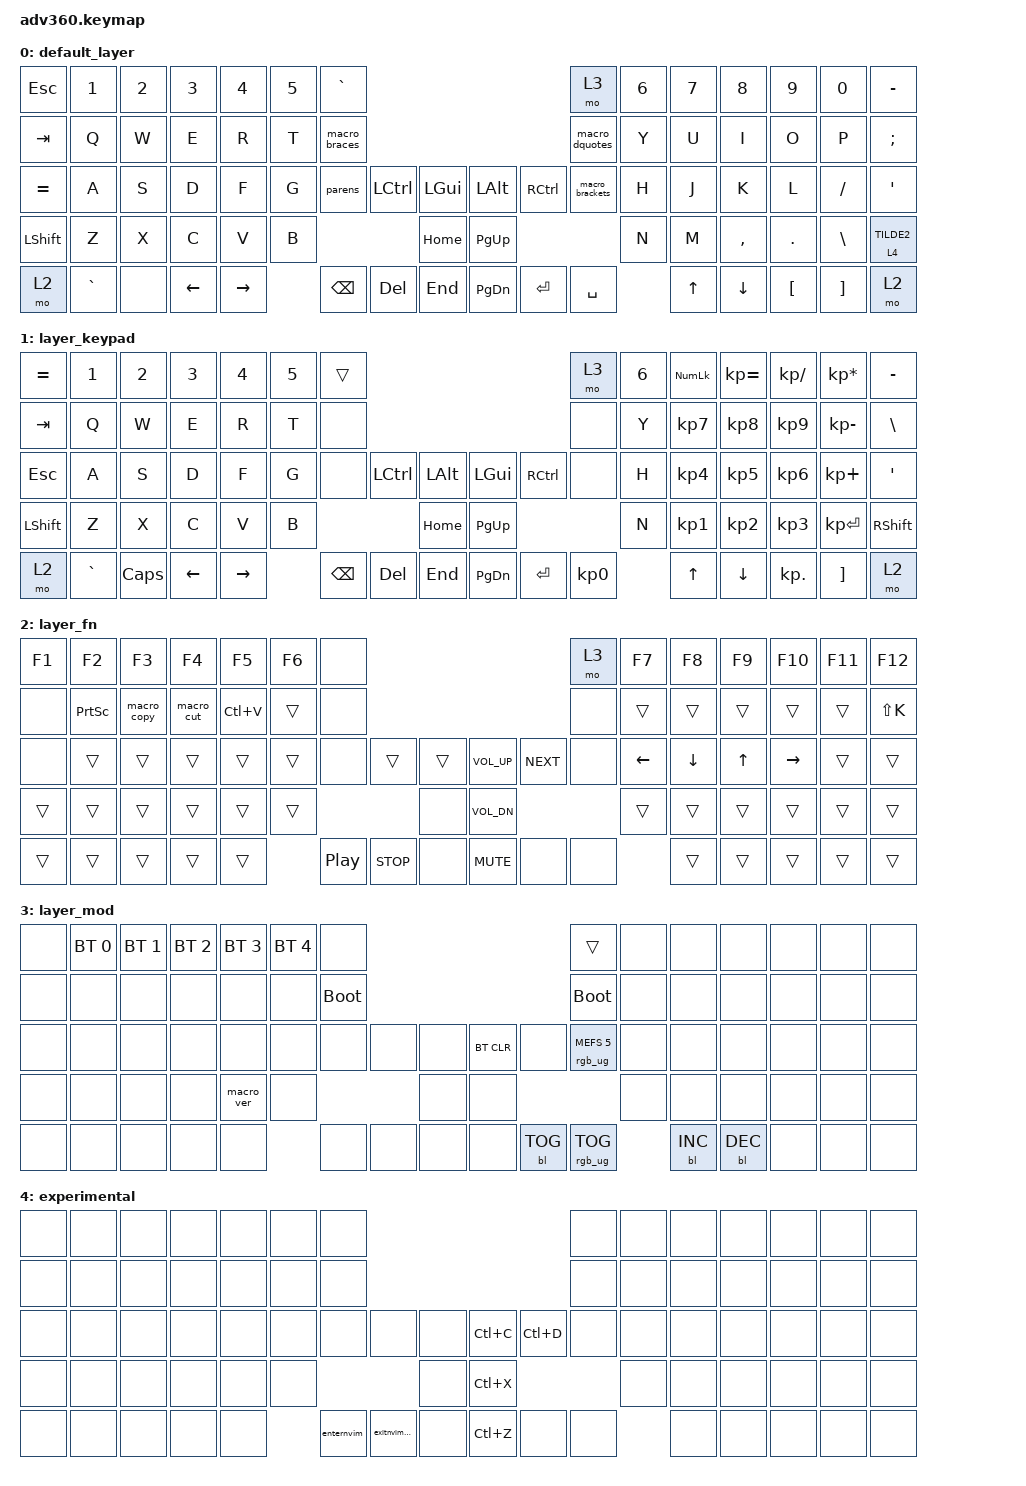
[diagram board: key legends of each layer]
/*
 * Copyright (c) 2020 The ZMK Contributors
 *
 * SPDX-License-Identifier: MIT
 */
/* THIS FILE WAS GENERATED!
 *
 * This file was generated automatically. You may or may not want to
 * edit it directly.
 */

#include <behaviors.dtsi>
#include <dt-bindings/zmk/backlight.h>
#include <dt-bindings/zmk/bt.h>
#include <dt-bindings/zmk/keys.h>
#include <dt-bindings/zmk/rgb.h>

/ {
    behaviors {
        #include "macros.dtsi"
    #include "version.dtsi"

        hm: homerow_mods {
            compatible = "zmk,behavior-hold-tap";
            label = "HOMEROW_MODS";
            #binding-cells = <2>;
            tapping-term-ms = <200>;
            quick_tap_ms = <175>;
            flavor = "tap-preferred";
            bindings = <&kp>, <&kp>;
        };
    };

    macros {
        gotodef: gotodef {
            compatible = "zmk,behavior-macro";
            #binding-cells = <0>;
            bindings = <&kp G &kp D>;
            label = "GOTODEF";
        };

        parens: parens {
            compatible = "zmk,behavior-macro";
            #binding-cells = <0>;
            bindings = <&kp LEFT_PARENTHESIS &kp RIGHT_PARENTHESIS &kp LEFT_ARROW>;
            label = "PARENS";
        };

        char: char {
            compatible = "zmk,behavior-macro";
            #binding-cells = <0>;
            bindings = <&kp C &kp H &kp A &kp R &kp SPACE>;
            label = "CHAR";
        };

        short: short {
            compatible = "zmk,behavior-macro";
            #binding-cells = <0>;
            bindings = <&kp S &kp H &kp O &kp R &kp T &kp SPACE>;
            label = "SHORT";
        };

        int: int {
            compatible = "zmk,behavior-macro";
            #binding-cells = <0>;
            bindings = <&kp I &kp N &kp T &kp SPACE>;
            label = "INT";
        };

        float: float {
            compatible = "zmk,behavior-macro";
            #binding-cells = <0>;
            bindings = <&kp F &kp L &kp O &kp A &kp T &kp SPACE>;
            label = "FLOAT";
        };

        double: double {
            compatible = "zmk,behavior-macro";
            #binding-cells = <0>;
            bindings = <&kp D &kp O &kp U &kp B &kp L &kp E &kp SPACE>;
            label = "DOUBLE";
        };

        long: long {
            compatible = "zmk,behavior-macro";
            #binding-cells = <0>;
            bindings = <&kp L &kp O &kp N &kp G &kp SPACE>;
            label = "LONG";
        };

        sizet: sizet {
            compatible = "zmk,behavior-macro";
            #binding-cells = <0>;
            bindings = <&kp S &kp I &kp Z &kp E &kp UNDER &kp T &kp SPACE>;
            label = "SIZET";
        };

        pointertochar: charasterisk {
            compatible = "zmk,behavior-macro";
            #binding-cells = <0>;
            bindings = <&kp C &kp H &kp A &kp R &kp SPACE &kp STAR &kp SPACE>;
            label = "CHARASTERISK";
        };

        pointertovoid: voidasterisk {
            compatible = "zmk,behavior-macro";
            #binding-cells = <0>;
            bindings = <&kp V &kp O &kp I &kp D &kp SPACE &kp STAR &kp SPACE>;
            label = "VOIDASTERISK";
        };

        pointertovoidpointer: pointertovoidpointer {
            compatible = "zmk,behavior-macro";
            #binding-cells = <0>;
            bindings = <&kp V &kp O &kp I &kp D &kp SPACE &kp STAR &kp STAR &kp SPACE>;
            label = "POINTERTOVOIDPOINTER";
        };

        enternvim: enternvim {
            compatible = "zmk,behavior-macro";
            #binding-cells = <0>;
            bindings = <&kp N &kp V &kp I &kp M &kp RET>;
            label = "ENTERNVIM";
        };

        exitnvimwithsave: exitnvimwithsave {
            compatible = "zmk,behavior-macro";
            #binding-cells = <0>;
            bindings = <&kp ESC &kp COLON &kp W &kp Q &kp RET>;
            label = "EXITNVIMWITHSAVE";
        };

        makeremake: makeremake {
            compatible = "zmk,behavior-macro";
            #binding-cells = <0>;
            bindings = <&kp M &kp A &kp K &kp E &kp SPACE &kp R &kp E &kp M &kp A &kp K &kp E &kp RET>;
            label = "MAKEREMAKE";
        };

        makedebug: makedebug {
            compatible = "zmk,behavior-macro";
            #binding-cells = <0>;
            bindings = <&kp M &kp A &kp K &kp E &kp SPACE &kp D &kp E &kp B &kp U &kp G &kp RET>;
            label = "MAKEDEBUG";
        };

        sudomakeinstall: sudomakeinstall {
            compatible = "zmk,behavior-macro";
            #binding-cells = <0>;
            bindings = <&kp S &kp U &kp D &kp O &kp SPACE &kp M &kp A &kp K &kp E &kp SPACE &kp I &kp N &kp S &kp T &kp A &kp L &kp L &kp RET>;
            label = "SUDOMAKEINSTALL";
        };

        makeclean: makeclean {
            compatible = "zmk,behavior-macro";
            #binding-cells = <0>;
            bindings = <&kp M &kp A &kp K &kp E &kp SPACE &kp C &kp L &kp E &kp A &kp N &kp RET>;
            label = "MAKECLEAN";
        };

        reisub: reisub {
            compatible = "zmk,behavior-macro";
            #binding-cells = <0>;
            bindings =
                <&macro_press>,
                <&kp PRINTSCREEN &kp LEFT_ALT &kp R &kp E &kp I &kp S &kp U &kp B>,
                <&macro_release>;

            label = "REISUB";
        };
    };

    keymap {
        compatible = "zmk,keymap";

        default_layer {
            bindings = <
&kp ESC    &kp N1     &kp N2  &kp N3    &kp N4     &kp N5  &kp GRAVE                                                     &mo 3            &kp N6  &kp N7  &kp N8     &kp N9    &kp N0    &kp MINUS
&kp TAB    &kp Q      &kp W   &kp E     &kp R      &kp T   &macro_braces                                                 &macro_dquotes   &kp Y   &kp U   &kp I      &kp O     &kp P     &kp SEMI
&kp EQUAL  &kp A      &kp S   &kp D     &kp F      &kp G   &parens        &kp LCTRL  &kp LGUI      &kp LALT   &kp RCTRL  &macro_brackets  &kp H   &kp J   &kp K      &kp L     &kp FSLH  &kp SQT
&kp LSHFT  &kp Z      &kp X   &kp C     &kp V      &kp B                             &kp HOME      &kp PG_UP                              &kp N   &kp M   &kp COMMA  &kp DOT   &kp BSLH  &lt 4 TILDE2
&mo 2      &kp GRAVE  &none   &kp LEFT  &kp RIGHT          &kp BSPC       &kp DEL    &kp END       &kp PG_DN  &kp ENTER  &kp SPACE                &kp UP  &kp DOWN   &kp LBKT  &kp RBKT  &mo 2
            >;
        };

        layer_keypad {
            bindings = <
&kp EQUAL  &kp N1     &kp N2    &kp N3    &kp N4     &kp N5  &trans                                                   &mo 3      &kp N6  &kp KP_NUM  &kp KP_EQUAL  &kp KP_DIVIDE  &kp KP_MULTIPLY  &kp MINUS
&kp TAB    &kp Q      &kp W     &kp E     &kp R      &kp T   &none                                                    &none      &kp Y   &kp KP_N7   &kp KP_N8     &kp KP_N9      &kp KP_MINUS     &kp BSLH
&kp ESC    &kp A      &kp S     &kp D     &kp F      &kp G   &none     &kp LCTRL  &kp LALT      &kp LGUI   &kp RCTRL  &none      &kp H   &kp KP_N4   &kp KP_N5     &kp KP_N6      &kp KP_PLUS      &kp SQT
&kp LSHFT  &kp Z      &kp X     &kp C     &kp V      &kp B                        &kp HOME      &kp PG_UP                        &kp N   &kp KP_N1   &kp KP_N2     &kp KP_N3      &kp KP_ENTER     &kp RSHFT
&mo 2      &kp GRAVE  &kp CAPS  &kp LEFT  &kp RIGHT          &kp BSPC  &kp DEL    &kp END       &kp PG_DN  &kp ENTER  &kp KP_N0          &kp UP      &kp DOWN      &kp KP_DOT     &kp RBKT         &mo 2
            >;
        };

        layer_fn {
            bindings = <
&kp F1  &kp F2           &kp F3       &kp F4      &kp F5     &kp F6  &none                                                               &mo 3  &kp F7    &kp F8    &kp F9  &kp F10    &kp F11  &kp F12
&none   &kp PRINTSCREEN  &macro_copy  &macro_cut  &kp LC(V)  &trans  &none                                                               &none  &trans    &trans    &trans  &trans     &trans   &kp LS(K)
&none   &trans           &trans       &trans      &trans     &trans  &none             &trans      &trans      &kp C_VOL_UP  &kp C_NEXT  &none  &kp LEFT  &kp DOWN  &kp UP  &kp RIGHT  &trans   &trans
&trans  &trans           &trans       &trans      &trans     &trans                                &none       &kp C_VOL_DN                     &trans    &trans    &trans  &trans     &trans   &trans
&trans  &trans           &trans       &trans      &trans             &kp C_PLAY_PAUSE  &kp C_STOP  &none       &kp C_MUTE    &none       &none            &trans    &trans  &trans     &trans   &trans
            >;
        };

        layer_mod {
            bindings = <
&none  &bt BT_SEL 0  &bt BT_SEL 1  &bt BT_SEL 2  &bt BT_SEL 3  &bt BT_SEL 4  &none                                                  &trans                  &none  &none       &none       &none  &none  &none
&none  &none         &none         &none         &none         &none         &bootloader                                            &bootloader             &none  &none       &none       &none  &none  &none
&none  &none         &none         &none         &none         &none         &none        &none  &none      &bt BT_CLR  &none       &rgb_ug RGB_MEFS_CMD 5  &none  &none       &none       &none  &none  &none
&none  &none         &none         &none         &macro_ver    &none                             &none      &none                                           &none  &none       &none       &none  &none  &none
&none  &none         &none         &none         &none                       &none        &none  &none      &none       &bl BL_TOG  &rgb_ug RGB_TOG                &bl BL_INC  &bl BL_DEC  &none  &none  &none
            >;
        };

        experimental {
            bindings = <
&none  &none  &none  &none  &none  &none  &none                                                           &none  &none  &none  &none  &none  &none  &none
&none  &none  &none  &none  &none  &none  &none                                                           &none  &none  &none  &none  &none  &none  &none
&none  &none  &none  &none  &none  &none  &none       &none              &none      &kp LC(C)  &kp LC(D)  &none  &none  &none  &none  &none  &none  &none
&none  &none  &none  &none  &none  &none                                 &none      &kp LC(X)                    &none  &none  &none  &none  &none  &none
&none  &none  &none  &none  &none         &enternvim  &exitnvimwithsave  &none      &kp LC(Z)  &none      &none         &none  &none  &none  &none  &none
            >;
        };
    };
};
